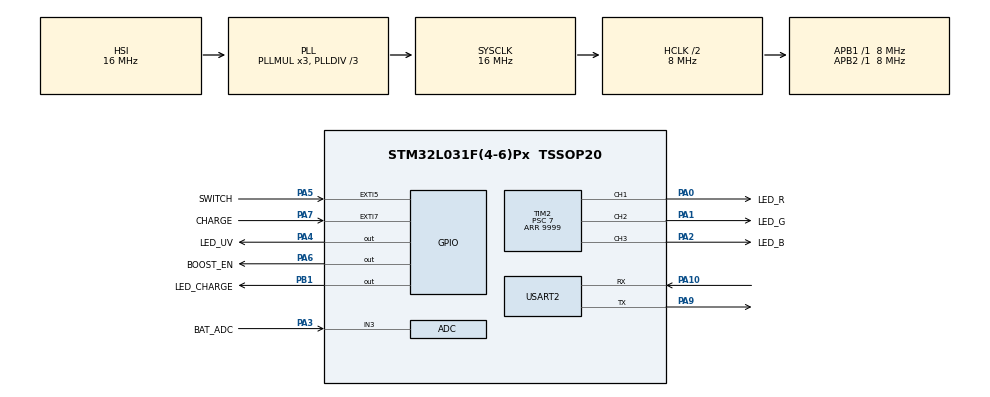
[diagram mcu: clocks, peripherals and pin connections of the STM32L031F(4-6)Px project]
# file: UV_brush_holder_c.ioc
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ADC.ContinuousConvMode=ENABLE
ADC.LowPowerAutoPowerOff=DISABLE
ADC.LowPowerAutoWait=DISABLE
ADC.LowPowerFrequencyMode=DISABLE
Mcu.Family=STM32L0
Mcu.Name=STM32L031F(4-6)Px
Mcu.Package=TSSOP20
NVIC.EXTI4_15_IRQn=true\:0\:0\:false\:false\:true\:true\:true
PA0-CK_IN.GPIO_Label=LED_R
PA0-CK_IN.Signal=S_TIM2_CH1
PA1.GPIO_Label=LED_G
PA1.Signal=S_TIM2_CH2
PA10.Mode=Asynchronous
PA10.Signal=USART2_RX
PA13.Mode=Serial_Wire
PA13.Signal=SYS_SWDIO
PA14.Mode=Serial_Wire
PA14.Signal=SYS_SWCLK
PA2.GPIO_Label=LED_B
PA2.Signal=S_TIM2_CH3
PA3.GPIO_Label=BAT_ADC
PA3.Mode=IN3
PA3.Signal=ADC_IN3
PA4.GPIO_Label=LED_UV
PA4.Signal=GPIO_Output
PA5.GPIO_Label=SWITCH
PA5.GPIO_ModeDefaultEXTI=GPIO_MODE_IT_RISING
PA5.Signal=GPXTI5
PA6.GPIO_Label=BOOST_EN
PA6.Signal=GPIO_Output
PA7.GPIO_Label=CHARGE
PA7.GPIO_ModeDefaultEXTI=GPIO_MODE_IT_RISING
PA7.Signal=GPXTI7
PA9.Mode=Asynchronous
PA9.Signal=USART2_TX
PB1.GPIO_Label=LED_CHARGE
PB1.Signal=GPIO_Output
ProjectManager.HeapSize=0x200
ProjectManager.StackSize=0x400
ProjectManager.TargetToolchain=STM32CubeIDE
RCC.AHBCLKDivider=RCC_SYSCLK_DIV2
RCC.AHBFreq_Value=8000000
RCC.APB1Freq_Value=8000000
RCC.APB1TimFreq_Value=8000000
RCC.APB2Freq_Value=8000000
RCC.APB2TimFreq_Value=8000000
RCC.HCLKFreq_Value=8000000
RCC.HSE_VALUE=8000000
RCC.HSI16_VALUE=16000000
RCC.HSI_VALUE=16000000
RCC.LSE_VALUE=32768
RCC.MSI_VALUE=2097000
RCC.PLLDIV=RCC_PLLDIV_3
RCC.SYSCLKFreq_VALUE=16000000
RCC.SYSCLKSource=RCC_SYSCLKSOURCE_PLLCLK
RCC.VCOOutputFreq_Value=48000000
SH.S_TIM2_CH1.0=TIM2_CH1,PWM Generation1 CH1
SH.S_TIM2_CH2.0=TIM2_CH2,PWM Generation2 CH2
SH.S_TIM2_CH3.0=TIM2_CH3,PWM Generation3 CH3
TIM2.AutoReloadPreload=TIM_AUTORELOAD_PRELOAD_ENABLE
TIM2.Channel-PWM\ Generation1\ CH1=TIM_CHANNEL_1
TIM2.Channel-PWM\ Generation2\ CH2=TIM_CHANNEL_2
TIM2.Channel-PWM\ Generation3\ CH3=TIM_CHANNEL_3
TIM2.Period=9999
TIM2.Prescaler=7
USART2.VirtualMode-Asynchronous=VM_ASYNC
VP_RTC_VS_RTC_Activate.Mode=RTC_Enabled
board=custom

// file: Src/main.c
/* USER CODE BEGIN Header */
/**
  ******************************************************************************
  * @file           : main.c
  * @brief          : Main program body
  ******************************************************************************
  * @attention
  *
  * <h2><center>&copy; Copyright (c) 2019 STMicroelectronics.
  * All rights reserved.</center></h2>
  *
  * This software component is licensed by ST under BSD 3-Clause license,
  * the "License"; You may not use this file except in compliance with the
  * License. You may obtain a copy of the License at:
  *                        opensource.org/licenses/BSD-3-Clause
  *
  ******************************************************************************
  */
/* USER CODE END Header */

#include "main.h"

/* USER CODE BEGIN Includes */
#include "brush.h"
/* USER CODE END Includes */

ADC_HandleTypeDef hadc;

RTC_HandleTypeDef hrtc;

TIM_HandleTypeDef htim2;

UART_HandleTypeDef huart2;

/* USER CODE BEGIN PV */

uint8_t isSwitch = 0;
uint8_t isCharging = 0;
uint8_t isRunning = 0;

uint8_t moodlighting = 0;

uint8_t clickcount = 0;
uint8_t getcount = 0;
uint8_t pastcount = 0;

uint32_t nowtick = 0;
uint32_t pasttick = 0;

uint32_t nowledtick = 0;
uint32_t pastledtick = 0;

uint32_t nowadctick = 0;
uint32_t pastadctick = 0;

uint32_t adcValue = 0;
/* USER CODE END PV */

void SystemClock_Config(void);
static void MX_GPIO_Init(void);
static void MX_TIM2_Init(void);
static void MX_USART2_UART_Init(void);
static void MX_RTC_Init(void);
static void MX_ADC_Init(void);

int main(void)
{

  /* MCU Configuration--------------------------------------------------------*/

  /* Reset of all peripherals, Initializes the Flash interface and the Systick. */
  HAL_Init();

  /* Configure the system clock */
  SystemClock_Config();

  /* Initialize all configured peripherals */
  MX_GPIO_Init();
  MX_TIM2_Init();
  MX_USART2_UART_Init();
  MX_RTC_Init();
  MX_ADC_Init();
  /* USER CODE BEGIN 2 */
  HAL_TIM_PWM_Start(&htim2, TIM_CHANNEL_1);
  HAL_TIM_PWM_Start(&htim2, TIM_CHANNEL_2);
  HAL_TIM_PWM_Start(&htim2, TIM_CHANNEL_3);

  HAL_ADC_Start(&hadc);

  htim2.Instance->CCR1 = 0;
  htim2.Instance->CCR2 = 0;
  htim2.Instance->CCR3 = 0;

  set_charging_led(OFF);
  set_uv_led(OFF);
  set_boost(OFF);

  HAL_GPIO_WritePin(GPIOA, GPIO_PIN_6, GPIO_PIN_RESET);

  /* USER CODE END 2 */

  /* Infinite loop */
  while (1)
  {

    /* USER CODE BEGIN 3 */
	  //htim2.Instance->CCR2+=2;
	  //htim2.Instance->CCR3+=10;

	  isCharging = HAL_GPIO_ReadPin(CHARGE_GPIO_Port, CHARGE_Pin);

	  /*
	   * ADC conversion
	   * every 100ms
	   * */
	  nowadctick = HAL_GetTick();
	  if(nowadctick - pastadctick > 100)
	  {
		  //HAL_ADC_Start(&hadc);
		  HAL_ADC_PollForConversion(&hadc, 0xFFFF);
		  adcValue = HAL_ADC_GetValue(&hadc);

		  pastadctick = nowadctick;
	  }

	  /*
	   * LED testing
	   * pwm control
	   * */
	  nowledtick = HAL_GetTick();
	  if(nowledtick - pastledtick > 5)
	  {
		  if(moodlighting)
		  {
		  htim2.Instance->CCR1++;
		  htim2.Instance->CCR2+=2;
		  htim2.Instance->CCR3+=10;
		  if(htim2.Instance->CCR1 > 9998)
			  htim2.Instance->CCR1 = 0;
		  if(htim2.Instance->CCR2 > 9998)
			  htim2.Instance->CCR2 = 0;
		  if(htim2.Instance->CCR3 > 9998)
			  htim2.Instance->CCR3 = 0;
		  }
		  else
		  {
			  htim2.Instance->CCR1 = 0;
			  htim2.Instance->CCR2 = 0;
			  htim2.Instance->CCR3 = 0;
			  htim2.Instance->CCR4 = 0;
		  }
		  pastledtick = nowledtick;
	  }

	  /*
	   * main task
	   * switch control
	   * double or triple click maximum waiting is 300ms.
	   * if weighing time is over 500ms select task.
	   * 1 click
	   * UV LED lighting and few second later, shut down UV led power.
	   * 2 clicks
	   * 3color LED lighting & shut down UV led power.
	   * 3 clicks
	   * all shutdown. go to sleep mode.
	   * */
	  nowtick = HAL_GetTick();
	  if(isSwitch)
	  {
		  if(nowtick - pasttick > 500)
		  {

			  clickcount++;
			  isSwitch = 0;

			  pasttick = nowtick;
		  }
	  }
	  if(nowtick - pasttick > 800)		//500ms
	  {
		  getcount = clickcount;

		  if(getcount == pastcount)
		  {
			  //end
			  switch(getcount)
			  {
			  	  //task cases
			  case 0:

				  break;
			  case 1:

				  HAL_GPIO_WritePin(GPIOA, GPIO_PIN_4, GPIO_PIN_RESET);
				  HAL_GPIO_WritePin(GPIOA, GPIO_PIN_6, GPIO_PIN_RESET);
				  break;
			  case 2:
				  if(moodlighting)
					  moodlighting = 0;
				  else
					  moodlighting = 1;
				  break;
			  case 3:
				  HAL_GPIO_WritePin(GPIOA, GPIO_PIN_4, GPIO_PIN_SET);
				  HAL_GPIO_WritePin(GPIOA, GPIO_PIN_6, GPIO_PIN_SET);
				  break;
			  }
			  //reset
			  isRunning = 0;
			  clickcount = 0;
			  isSwitch = 0;
		  }
		  if(getcount != pastcount)
		  {
			  //continue
			  if(getcount > 3)
			  {
				  //reset
				  isRunning = 0;
				  clickcount = 0;
				  isSwitch = 0;
			  }
		  }

		  pastcount = getcount;
		  pasttick = nowtick;
	  }
  }
  /* USER CODE END 3 */
}

void SystemClock_Config(void)
{
  RCC_OscInitTypeDef RCC_OscInitStruct = {0};
  RCC_ClkInitTypeDef RCC_ClkInitStruct = {0};
  RCC_PeriphCLKInitTypeDef PeriphClkInit = {0};

  /** Configure the main internal regulator output voltage
  */
  __HAL_PWR_VOLTAGESCALING_CONFIG(PWR_REGULATOR_VOLTAGE_SCALE1);
  /** Initializes the CPU, AHB and APB busses clocks
  */
  RCC_OscInitStruct.OscillatorType = RCC_OSCILLATORTYPE_HSI|RCC_OSCILLATORTYPE_LSI;
  RCC_OscInitStruct.HSIState = RCC_HSI_ON;
  RCC_OscInitStruct.HSICalibrationValue = RCC_HSICALIBRATION_DEFAULT;
  RCC_OscInitStruct.LSIState = RCC_LSI_ON;
  RCC_OscInitStruct.PLL.PLLState = RCC_PLL_ON;
  RCC_OscInitStruct.PLL.PLLSource = RCC_PLLSOURCE_HSI;
  RCC_OscInitStruct.PLL.PLLMUL = RCC_PLLMUL_3;
  RCC_OscInitStruct.PLL.PLLDIV = RCC_PLLDIV_3;
  if (HAL_RCC_OscConfig(&RCC_OscInitStruct) != HAL_OK)
  {
    Error_Handler();
  }
  /** Initializes the CPU, AHB and APB busses clocks
  */
  RCC_ClkInitStruct.ClockType = RCC_CLOCKTYPE_HCLK|RCC_CLOCKTYPE_SYSCLK
                              |RCC_CLOCKTYPE_PCLK1|RCC_CLOCKTYPE_PCLK2;
  RCC_ClkInitStruct.SYSCLKSource = RCC_SYSCLKSOURCE_PLLCLK;
  RCC_ClkInitStruct.AHBCLKDivider = RCC_SYSCLK_DIV2;
  RCC_ClkInitStruct.APB1CLKDivider = RCC_HCLK_DIV1;
  RCC_ClkInitStruct.APB2CLKDivider = RCC_HCLK_DIV1;

  if (HAL_RCC_ClockConfig(&RCC_ClkInitStruct, FLASH_LATENCY_0) != HAL_OK)
  {
    Error_Handler();
  }
  PeriphClkInit.PeriphClockSelection = RCC_PERIPHCLK_USART2|RCC_PERIPHCLK_RTC;
  PeriphClkInit.Usart2ClockSelection = RCC_USART2CLKSOURCE_PCLK1;
  PeriphClkInit.RTCClockSelection = RCC_RTCCLKSOURCE_LSI;
  if (HAL_RCCEx_PeriphCLKConfig(&PeriphClkInit) != HAL_OK)
  {
    Error_Handler();
  }
}

static void MX_ADC_Init(void)
{

  ADC_ChannelConfTypeDef sConfig = {0};

  /** Configure the global features of the ADC (Clock, Resolution, Data Alignment and number of conversion)
  */
  hadc.Instance = ADC1;
  hadc.Init.OversamplingMode = DISABLE;
  hadc.Init.ClockPrescaler = ADC_CLOCK_SYNC_PCLK_DIV2;
  hadc.Init.Resolution = ADC_RESOLUTION_12B;
  hadc.Init.SamplingTime = ADC_SAMPLETIME_1CYCLE_5;
  hadc.Init.ScanConvMode = ADC_SCAN_DIRECTION_FORWARD;
  hadc.Init.DataAlign = ADC_DATAALIGN_RIGHT;
  hadc.Init.ContinuousConvMode = ENABLE;
  hadc.Init.DiscontinuousConvMode = DISABLE;
  hadc.Init.ExternalTrigConvEdge = ADC_EXTERNALTRIGCONVEDGE_NONE;
  hadc.Init.ExternalTrigConv = ADC_SOFTWARE_START;
  hadc.Init.DMAContinuousRequests = DISABLE;
  hadc.Init.EOCSelection = ADC_EOC_SINGLE_CONV;
  hadc.Init.Overrun = ADC_OVR_DATA_PRESERVED;
  hadc.Init.LowPowerAutoWait = DISABLE;
  hadc.Init.LowPowerFrequencyMode = DISABLE;
  hadc.Init.LowPowerAutoPowerOff = DISABLE;
  if (HAL_ADC_Init(&hadc) != HAL_OK)
  {
    Error_Handler();
  }
  /** Configure for the selected ADC regular channel to be converted.
  */
  sConfig.Channel = ADC_CHANNEL_3;
  sConfig.Rank = ADC_RANK_CHANNEL_NUMBER;
  if (HAL_ADC_ConfigChannel(&hadc, &sConfig) != HAL_OK)
  {
    Error_Handler();
  }

}

static void MX_RTC_Init(void)
{

  /** Initialize RTC Only
  */
  hrtc.Instance = RTC;
  hrtc.Init.HourFormat = RTC_HOURFORMAT_24;
  hrtc.Init.AsynchPrediv = 127;
  hrtc.Init.SynchPrediv = 255;
  hrtc.Init.OutPut = RTC_OUTPUT_DISABLE;
  hrtc.Init.OutPutRemap = RTC_OUTPUT_REMAP_NONE;
  hrtc.Init.OutPutPolarity = RTC_OUTPUT_POLARITY_HIGH;
  hrtc.Init.OutPutType = RTC_OUTPUT_TYPE_OPENDRAIN;
  if (HAL_RTC_Init(&hrtc) != HAL_OK)
  {
    Error_Handler();
  }

}

static void MX_TIM2_Init(void)
{

  TIM_MasterConfigTypeDef sMasterConfig = {0};
  TIM_OC_InitTypeDef sConfigOC = {0};

  htim2.Instance = TIM2;
  htim2.Init.Prescaler = 7;
  htim2.Init.CounterMode = TIM_COUNTERMODE_UP;
  htim2.Init.Period = 9999;
  htim2.Init.ClockDivision = TIM_CLOCKDIVISION_DIV1;
  htim2.Init.AutoReloadPreload = TIM_AUTORELOAD_PRELOAD_ENABLE;
  if (HAL_TIM_PWM_Init(&htim2) != HAL_OK)
  {
    Error_Handler();
  }
  sMasterConfig.MasterOutputTrigger = TIM_TRGO_RESET;
  sMasterConfig.MasterSlaveMode = TIM_MASTERSLAVEMODE_DISABLE;
  if (HAL_TIMEx_MasterConfigSynchronization(&htim2, &sMasterConfig) != HAL_OK)
  {
    Error_Handler();
  }
  sConfigOC.OCMode = TIM_OCMODE_PWM1;
  sConfigOC.Pulse = 0;
  sConfigOC.OCPolarity = TIM_OCPOLARITY_HIGH;
  sConfigOC.OCFastMode = TIM_OCFAST_DISABLE;
  if (HAL_TIM_PWM_ConfigChannel(&htim2, &sConfigOC, TIM_CHANNEL_1) != HAL_OK)
  {
    Error_Handler();
  }
  if (HAL_TIM_PWM_ConfigChannel(&htim2, &sConfigOC, TIM_CHANNEL_2) != HAL_OK)
  {
    Error_Handler();
  }
  if (HAL_TIM_PWM_ConfigChannel(&htim2, &sConfigOC, TIM_CHANNEL_3) != HAL_OK)
  {
    Error_Handler();
  }
  HAL_TIM_MspPostInit(&htim2);

}

static void MX_USART2_UART_Init(void)
{

  huart2.Instance = USART2;
  huart2.Init.BaudRate = 115200;
  huart2.Init.WordLength = UART_WORDLENGTH_8B;
  huart2.Init.StopBits = UART_STOPBITS_1;
  huart2.Init.Parity = UART_PARITY_NONE;
  huart2.Init.Mode = UART_MODE_TX_RX;
  huart2.Init.HwFlowCtl = UART_HWCONTROL_NONE;
  huart2.Init.OverSampling = UART_OVERSAMPLING_16;
  huart2.Init.OneBitSampling = UART_ONE_BIT_SAMPLE_DISABLE;
  huart2.AdvancedInit.AdvFeatureInit = UART_ADVFEATURE_NO_INIT;
  if (HAL_UART_Init(&huart2) != HAL_OK)
  {
    Error_Handler();
  }

}

static void MX_GPIO_Init(void)
{
  GPIO_InitTypeDef GPIO_InitStruct = {0};

  /* GPIO Ports Clock Enable */
  __HAL_RCC_GPIOA_CLK_ENABLE();
  __HAL_RCC_GPIOB_CLK_ENABLE();

  /*Configure GPIO pin Output Level */
  HAL_GPIO_WritePin(GPIOA, LED_UV_Pin|BOOST_EN_Pin, GPIO_PIN_RESET);

  /*Configure GPIO pin Output Level */
  HAL_GPIO_WritePin(LED_CHARGE_GPIO_Port, LED_CHARGE_Pin, GPIO_PIN_RESET);

  /*Configure GPIO pins : LED_UV_Pin BOOST_EN_Pin */
  GPIO_InitStruct.Pin = LED_UV_Pin|BOOST_EN_Pin;
  GPIO_InitStruct.Mode = GPIO_MODE_OUTPUT_PP;
  GPIO_InitStruct.Pull = GPIO_NOPULL;
  GPIO_InitStruct.Speed = GPIO_SPEED_FREQ_LOW;
  HAL_GPIO_Init(GPIOA, &GPIO_InitStruct);

  /*Configure GPIO pins : SWITCH_Pin CHARGE_Pin */
  GPIO_InitStruct.Pin = SWITCH_Pin|CHARGE_Pin;
  GPIO_InitStruct.Mode = GPIO_MODE_IT_RISING;
  GPIO_InitStruct.Pull = GPIO_NOPULL;
  HAL_GPIO_Init(GPIOA, &GPIO_InitStruct);

  /*Configure GPIO pin : LED_CHARGE_Pin */
  GPIO_InitStruct.Pin = LED_CHARGE_Pin;
  GPIO_InitStruct.Mode = GPIO_MODE_OUTPUT_PP;
  GPIO_InitStruct.Pull = GPIO_NOPULL;
  GPIO_InitStruct.Speed = GPIO_SPEED_FREQ_LOW;
  HAL_GPIO_Init(LED_CHARGE_GPIO_Port, &GPIO_InitStruct);

  /* EXTI interrupt init*/
  HAL_NVIC_SetPriority(EXTI4_15_IRQn, 0, 0);
  HAL_NVIC_EnableIRQ(EXTI4_15_IRQn);

}

/* USER CODE BEGIN 4 */

void HAL_GPIO_EXTI_Callback(uint16_t GPIO_Pin)
{
	if(GPIO_Pin == SWITCH_Pin)
	{
		isSwitch = 1;
	}
	else if(GPIO_Pin == CHARGE_Pin)
	{
		isCharging = 1;
	}
}
/* USER CODE END 4 */

void Error_Handler(void)
{
}

/************************ (C) COPYRIGHT STMicroelectronics *****END OF FILE****/
